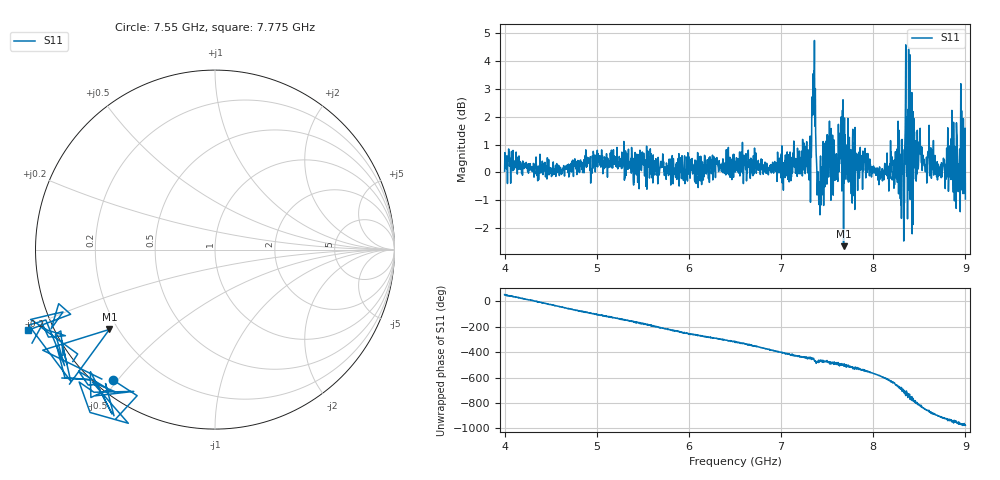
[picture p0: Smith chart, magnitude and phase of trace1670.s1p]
! Created with skrf 1.8.0 (http://scikit-rf.org).
# Hz S RI R 50.0
!freq ReS11 ImS11
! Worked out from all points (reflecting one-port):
!   1601 points, 4 GHz to 9 GHz, reference 50 ohm
!   lowest |S11| = -2.6 dB at 7.678 GHz (marker M1), VSWR 6.62, Z = 8.38 - j16.3 ohm
!   phase of S11 starts at 54 deg and turns -1030 deg over the sweep
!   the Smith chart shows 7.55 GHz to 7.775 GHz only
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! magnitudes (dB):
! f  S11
! 4 GHz  0.0
! 4.625 GHz  0.0
! 5.25 GHz  0.2
! 5.875 GHz  0.0
! 6.5 GHz  0.4
! 7.125 GHz  0.0
! 7.306 GHz  0.0
! 7.35 GHz  2.9
! 7.366 GHz  1.7
! 7.409 GHz  -1.1
! 7.512 GHz  1.3
! 7.591 GHz  0.6
! 7.647 GHz  1.3
! 7.678 GHz  -2.6
! 7.75 GHz  -0.3
! 8.075 GHz  -0.1
! 8.259 GHz  0.8
! 8.312 GHz  1.2
! 8.334 GHz  0.2
! 8.356 GHz  0.3
! 8.375 GHz  0.0
! 8.447 GHz  1.5
! 8.503 GHz  0.8
! 8.722 GHz  -0.1
! 8.834 GHz  1.0
! 8.919 GHz  0.2
! 8.972 GHz  1.0
! 9 GHz  -1.0
